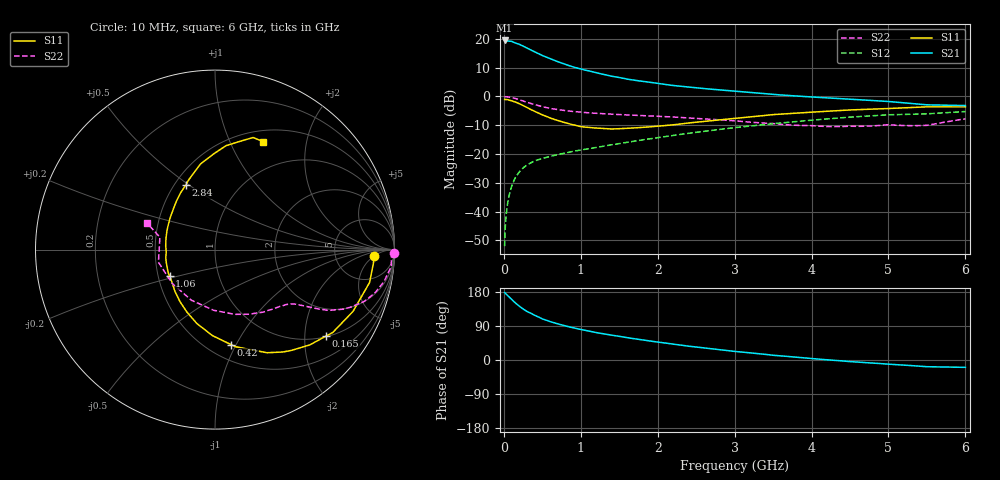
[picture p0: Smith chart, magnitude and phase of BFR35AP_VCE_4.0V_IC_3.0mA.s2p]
! Infineon Technologies  Discrete & RF Semiconductors
! BFR35AP
! VCE =  4.0 V,  IC =  3.0 mA
! Common Emitter S-Parameters:  Nov 2015
# GHz  S  MA  R  50
!  f  S11  S21  S12  S22
! GHz  MAG  ANG  MAG  ANG  MAG  ANG  MAG  ANG
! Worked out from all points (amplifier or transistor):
!   210 points, 10 MHz to 6 GHz, reference 50 ohm
!   highest |S21| = 19.5 dB at 10 MHz (marker M1)
!   |S21| within 3 dB of that: start of sweep to 327.8 MHz
!   unconditionally stable (mu >= 1): 992.8 MHz to 3.492 GHz
!   at 185 MHz: K = 0.27, MSG = 22.5 dB, |S12| = -26.8 dB
!   at 1.52 GHz: K = 1.13, MAG = 9.2 dB, |S12| = -16.3 dB
!   at 6 GHz: K = 0.97, MSG = 1.0 dB, |S12| = -5.2 dB
!   S11 on the Smith chart (normalised r, x): 10 MHz: 15, -5; 165 MHz: 1.02, -2.55; 420 MHz: 0.64, -0.95; 1.06 GHz: 0.57, -0.19; 2.84 GHz: 0.57, +0.49; 6 GHz: 0.63, +1.34
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0.01  0.8861 -2.4  9.398 178.0  0.0025 87.8  0.9961 -1.0
0.02  0.8859 -4.9  9.281 175.8  0.0058 83.3  0.9846 -2.3
0.04  0.8809 -9.6  9.226 171.9  0.0113 82.8  0.9855 -4.4
0.1  0.8427 -24.1  9.083 160.2  0.027 76.5  0.958 -10.8
0.15  0.8023 -35.1  8.502 150.4  0.0389 71.0  0.9213 -15.4
0.165  0.7839 -38.0  8.356 148.1  0.0418 69.4  0.9086 -16.5
0.2  0.7492 -45.1  8.073 142.3  0.0486 66.5  0.8803 -19.1
0.26  0.6843 -56.5  7.428 133.3  0.0586 61.5  0.8237 -22.8
0.3  0.6431 -63.3  6.945 128.2  0.0643 59.5  0.7908 -24.8
0.42  0.5361 -80.5  5.793 116.3  0.0775 54.3  0.7102 -28.4
0.5  0.4799 -91.6  5.155 108.5  0.0834 52.3  0.6641 -29.9
0.68  0.3893 -111.9  4.128 96.6  0.0964 50.6  0.596 -32.0
0.8  0.349 -124.1  3.597 89.8  0.1043 50.2  0.5674 -33.0
1.02  0.2966 -145.7  2.954 79.7  0.1184 50.5  0.5298 -34.8
1.06  0.2931 -149.6  2.867 78.2  0.1209 50.8  0.5243 -35.3
1.4  0.272 -177.5  2.249 65.6  0.1442 51.8  0.4928 -39.2
2.02  0.3063 144.7  1.671 46.8  0.1946 51.8  0.4501 -48.8
2.84  0.3956 114.3  1.287 26.4  0.2712 47.3  0.3887 -68.0
3.1  0.4276 108.2  1.199 20.9  0.2964 44.9  0.3669 -76.2
4.1  0.5426 89.3  0.961 2.2  0.3966 33.9  0.3046 -120.2
5.1  0.6248 76.1  0.796 -12.2  0.4829 19.7  0.3164 -172.3
6  0.6589 65.9  0.694 -19.4  0.5466 8.8  0.409 158.5
